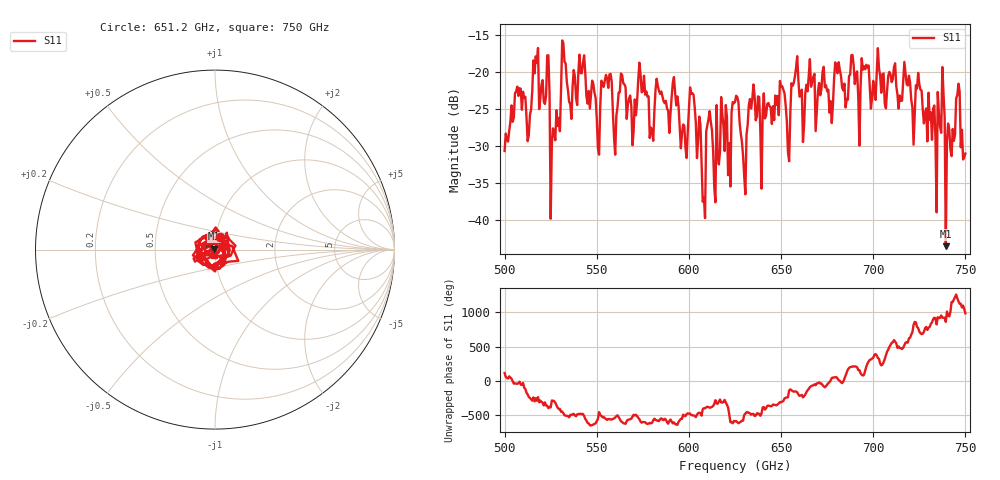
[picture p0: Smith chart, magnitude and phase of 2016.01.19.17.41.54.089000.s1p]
!Created with skrf (http://scikit-rf.org).
# GHz S RI R 50.0
!freq ReS11 ImS11
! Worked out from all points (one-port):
!   401 points, 500 GHz to 750 GHz, reference 50 ohm
!   lowest |S11| = -43.6 dB at 739.4 GHz (marker M1), VSWR 1.01, Z = 49.5 + j0.439 ohm
!   |S11| at or under -10 dB: start of sweep to end of sweep
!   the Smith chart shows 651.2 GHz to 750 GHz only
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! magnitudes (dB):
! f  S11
! 500 GHz  -30.7
! 506.9 GHz  -22.0
! 513.1 GHz  -28.6
! 516.9 GHz  -17.9
! 523.1 GHz  -17.8
! 526.2 GHz  -27.6
! 531.2 GHz  -15.8
! 541.9 GHz  -20.2
! 550.6 GHz  -30.3
! 562.5 GHz  -22.7
! 593.8 GHz  -23.3
! 598.1 GHz  -30.3
! 601.9 GHz  -22.9
! 608.1 GHz  -37.0
! 610.6 GHz  -26.4
! 615 GHz  -24.5
! 625 GHz  -24.1
! 630 GHz  -34.1
! 634.4 GHz  -23.7
! 640 GHz  -25.6
! 650.6 GHz  -22.0
! 653.8 GHz  -30.9
! 656.2 GHz  -21.9
! 687.5 GHz  -20.4
! 718.8 GHz  -21.9
! 739.4 GHz  -43.6
! 745.6 GHz  -23.1
! 750 GHz  -31.0
